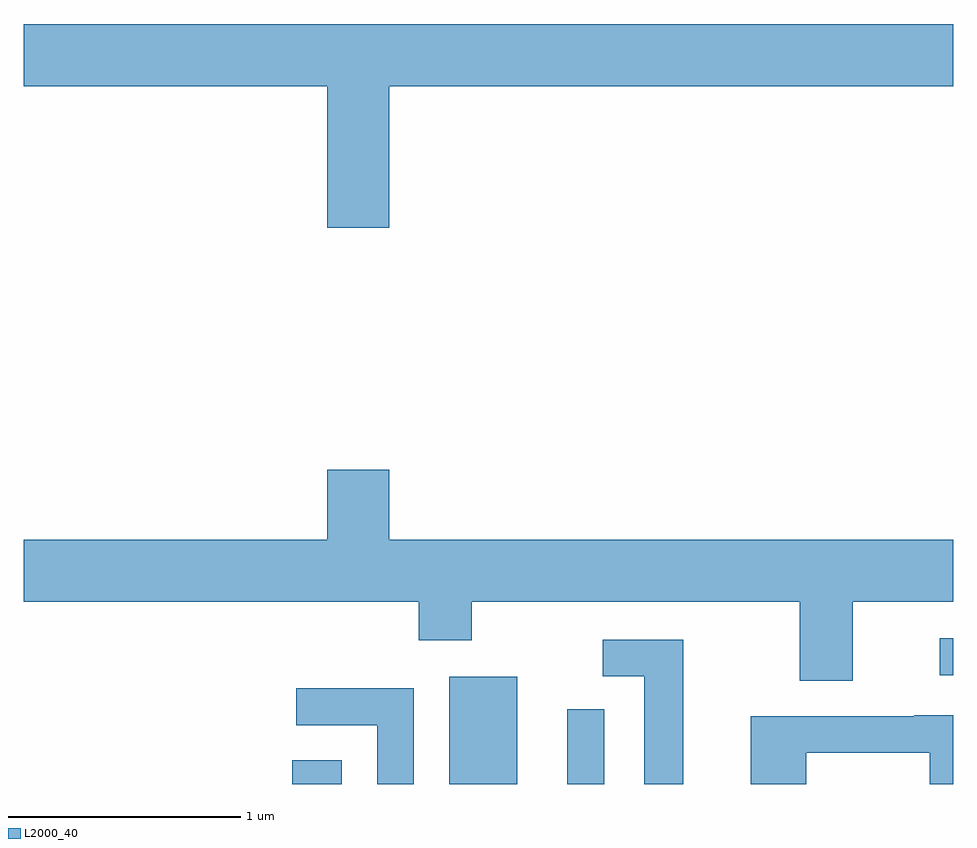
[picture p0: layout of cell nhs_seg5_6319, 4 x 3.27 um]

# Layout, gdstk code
import gdstk
lib = gdstk.Library(unit=1e-6, precision=1e-09)
def R(c, l, rs):  # rectangles x0, y0, x1, y1
    for r in rs: c.add(gdstk.rectangle(r[:2], r[2:], *l))
def P(c, l, *ps):  # polygons
    for p in ps: c.add(gdstk.Polygon(p, *l))
L2000_40 = (2000, 40)

nhs_seg5_6319 = lib.new_cell('nhs_seg5_6319')
R(nhs_seg5_6319, L2000_40, [(374.766,1396.072,374.979,1396.174), (375.441,1396.072,375.734,1396.534), (375.951,1396.072,376.109,1396.393), (377.553,1396.541,377.611,1396.699)])
P(nhs_seg5_6319, L2000_40, [(375.184,1399.076),(377.611,1399.076),(377.611,1399.344),(373.611,1399.344),(373.611,1399.076),(374.916,1399.076),(374.916,1398.466),(375.184,1398.466)],
  [(377.179,1396.856),(377.611,1396.856),(377.611,1397.124),(375.184,1397.124),(375.184,1397.424),(374.916,1397.424),(374.916,1397.124),(373.611,1397.124),(373.611,1396.856),(375.311,1396.856),(375.311,1396.691),(375.539,1396.691),(375.539,1396.856),(376.951,1396.856),(376.951,1396.516),(377.179,1396.516)],
  [(376.449,1396.694),(376.103,1396.694),(376.103,1396.536),(376.281,1396.536),(376.281,1396.072),(376.449,1396.072)],
  [(375.289,1396.484),(374.783,1396.484),(374.783,1396.326),(375.131,1396.326),(375.131,1396.072),(375.289,1396.072)],
  [(376.979,1396.206),(377.511,1396.206),(377.511,1396.072),(377.611,1396.072),(377.611,1396.369),(377.445,1396.369),(377.445,1396.364),(376.741,1396.364),(376.741,1396.072),(376.979,1396.072)])

lib.write_gds('nhs_seg5_6319.gds')
